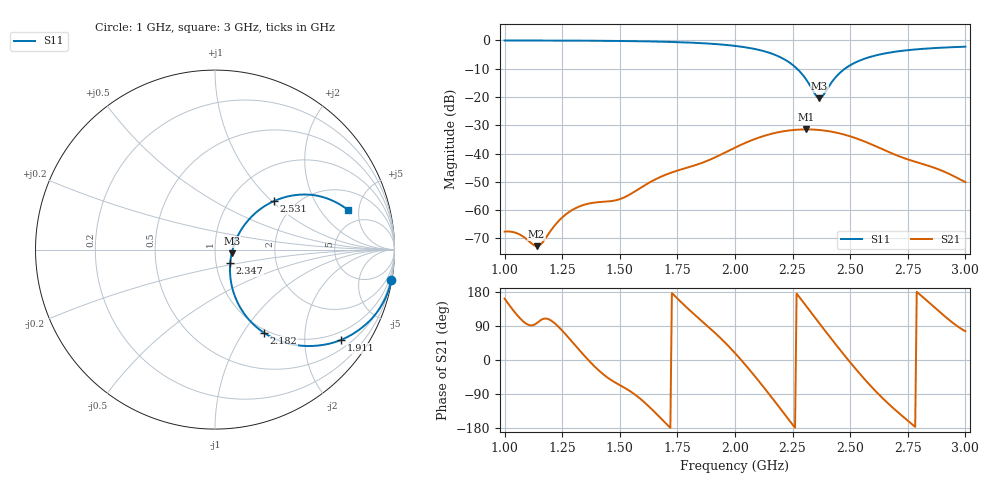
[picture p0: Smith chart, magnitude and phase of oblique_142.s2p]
! TOUCHSTONE file generated by CST MICROWAVE STUDIO
! Date and time: Tue Mar 18 00:02:19 2025
! Project name: oblique.cst
! Parameters = {Tilt=40; Fracture=1; B=10; D=160; F=15; Feed=2.85625; L=100; M=50; R=0.384908; S=2; Theta=90; length=57.125; wave=114.25}
! Header version: 2024
! Port assignment regex: !\s*Touchstone port\s*([0-9]+)\s*=\s*(CST MWS port|CST DES external port|CST DES block port)\s*(.+)\s* \(\"(.*)\"\)(\s*mode\s*([0-9]+))?.*
! Touchstone port assignment:
! Touchstone port 1 = CST MWS port 1 ("")
! Touchstone port 2 = CST MWS port 2 ("")
# GHz S DB R 50
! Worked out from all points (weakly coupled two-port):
!   304 points, 1 GHz to 3 GHz, reference 50 ohm
!   highest |S21| = -31.45 dB at 2.307 GHz (marker M1); lowest = -72.7 dB at 1.139 GHz (marker M2)
!   lowest |S11| = -20.4 dB at 2.366 GHz (marker M3), VSWR 1.21, Z = 60.2 - j2.59 ohm
!   |S11| at or under -10 dB: 2.269 GHz to 2.477 GHz (208.1 MHz wide, 8.77 % of centre)
!   S12 and S22 are empty: the file has one direction only
!   S11 on the Smith chart (normalised r, x): 1 GHz: 0, -12; 1.911 GHz: 0.74, -2.96; 2.182 GHz: 0.96, -1.25; 2.347 GHz: 1.17, -0.18; 2.531 GHz: 1.56, +1.02; 3 GHz: 3.51, +3.83
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1  -0.02 -9.8  -67.59 162.0  -200.00 0.0  -200.00 0.0
1.05941  -0.03 -10.6  -68.36 114.9  -200.00 0.0  -200.00 0.0
1.13861  -0.04 -11.8  -72.74 96.8  -200.00 0.0  -200.00 0.0
1.15842  -0.04 -12.1  -71.98 105.9  -200.00 0.0  -200.00 0.0
1.25083  -0.07 -13.7  -62.52 77.0  -200.00 0.0  -200.00 0.0
1.33663  -0.10 -15.3  -58.33 17.8  -200.00 0.0  -200.00 0.0
1.50165  -0.21 -19.1  -56.07 -66.9  -200.00 0.0  -200.00 0.0
1.66667  -0.42 -24.1  -48.63 -146.7  -200.00 0.0  -200.00 0.0
1.91089  -1.26 -35.5  -41.45 72.9  -200.00 0.0  -200.00 0.0
2.0033  -1.97 -41.9  -37.77 16.1  -200.00 0.0  -200.00 0.0
2.10231  -3.33 -50.8  -34.39 -54.9  -200.00 0.0  -200.00 0.0
2.18152  -5.37 -59.5  -32.57 -116.2  -200.00 0.0  -200.00 0.0
2.25413  -8.92 -66.3  -31.66 -173.9  -200.00 0.0  -200.00 0.0
2.30693  -13.57 -64.3  -31.45 143.9  -200.00 0.0  -200.00 0.0
2.33993  -17.95 -48.6  -31.52 117.6  -200.00 0.0  -200.00 0.0
2.34653  -18.86 -41.9  -31.55 112.3  -200.00 0.0  -200.00 0.0
2.36634  -20.42 -12.9  -31.67 96.6  -200.00 0.0  -200.00 0.0
2.45215  -11.71 41.8  -32.84 29.7  -200.00 0.0  -200.00 0.0
2.53135  -7.47 39.5  -34.77 -28.9  -200.00 0.0  -200.00 0.0
2.66997  -4.32 30.2  -39.54 -117.7  -200.00 0.0  -200.00 0.0
2.88779  -2.61 19.9  -45.71 127.3  -200.00 0.0  -200.00 0.0
3  -2.23 16.4  -50.10 75.8  -200.00 0.0  -200.00 0.0
